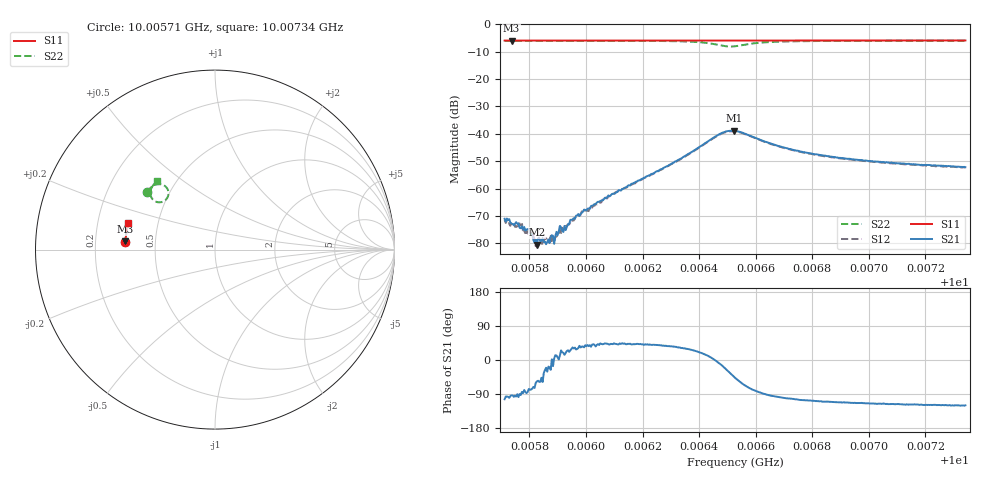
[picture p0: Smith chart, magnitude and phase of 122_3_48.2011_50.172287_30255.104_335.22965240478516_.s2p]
#  HZ  S  RI  R  50.00
! Rohde & Schwarz Vector Network Analyzer
! Rohde-Schwarz,ZNB20-2Port,1311601062101988,3.16
! Created: UTC 3/20/2024, 11:41:33 AM
! freq[Hz]  re:S11  im:S11  re:S21  im:S21  re:S12  im:S12  re:S22  im:S22
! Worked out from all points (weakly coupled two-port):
!   401 points, 10.00571 GHz to 10.00734 GHz, reference 50 ohm
!   highest |S21| = -38.86 dB at 10.00652 GHz (marker M1); lowest = -80.4 dB at 10.00583 GHz (marker M2)
!   lowest |S11| = -6.0 dB at 10.00574 GHz (marker M3), VSWR 3.01, Z = 16.7 + j2.02 ohm
!   |S11| at or under -10 dB: nowhere
!   |S22| runs from -8.2 to -6.0 dB; largest |S21 - S12| = 0.00068
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1.0005712e10  -0.4992 0.0438  -6.59e-05 -0.000274  -1.47e-05 -0.000267  -0.3806 0.3201
1.0005737e10  -0.499 0.0455  -1.29e-05 -0.00023  -1.22e-05 -0.000238  -0.3794 0.3217
1.0005769e10  -0.4988 0.0476  -8.02e-06 -0.000189  -1.06e-05 -0.000213  -0.3778 0.3236
1.0005786e10  -0.4989 0.0487  1.69e-05 -0.000171  3.87e-05 -0.000137  -0.3771 0.3247
1.0005798e10  -0.4987 0.0496  4.34e-05 -0.000179  5.53e-05 -0.000147  -0.3765 0.3256
1.0005818e10  -0.4986 0.0509  2.91e-05 -9.97e-05  4.96e-05 -0.000106  -0.3753 0.3268
1.0005826e10  -0.4985 0.0514  5.25e-05 -8e-05  5.68e-05 -9.89e-05  -0.3748 0.3272
1.0005863e10  -0.4984 0.0539  9.12e-05 -5.42e-05  0.0001 -8.47e-05  -0.3729 0.3294
1.0005887e10  -0.4982 0.0553  9.83e-05 6.4e-06  0.000103 8.46e-06  -0.3715 0.3313
1.0005916e10  -0.4981 0.0573  0.000161 6e-05  0.00019 3.54e-05  -0.3699 0.333
1.0005924e10  -0.4981 0.0577  0.000203 4.9e-05  0.000196 4.72e-05  -0.3694 0.3336
1.0005953e10  -0.4979 0.0596  0.000228 0.000148  0.000228 0.000142  -0.3676 0.3355
1.0005985e10  -0.4977 0.0617  0.000295 0.000209  0.000309 0.00023  -0.3656 0.3377
1.0006111e10  -0.4969 0.0699  0.000654 0.000575  0.00063 0.000631  -0.3561 0.3468
1.0006258e10  -0.4957 0.0794  0.00166 0.00135  0.00159 0.00141  -0.3385 0.3588
1.000647e10  -0.4929 0.0928  0.00967 -0.00134  0.00945 -0.000807  -0.2602 0.3252
1.0006523e10  -0.4923 0.0956  0.00819 -0.00793  0.00839 -0.00729  -0.2862 0.2689
1.0006527e10  -0.4925 0.0957  0.00773 -0.00824  0.008 -0.00764  -0.291 0.2667
1.0006616e10  -0.4921 0.1014  0.000554 -0.00776  0.000881 -0.00756  -0.3551 0.2916
1.00068e10  -0.4902 0.1133  -0.00131 -0.00412  -0.00111 -0.00411  -0.3558 0.3388
1.0007073e10  -0.4865 0.1305  -0.00133 -0.00267  -0.00116 -0.00266  -0.3399 0.3647
1.0007341e10  -0.4822 0.1475  -0.00122 -0.00214  -0.00111 -0.00216  -0.3251 0.3811
